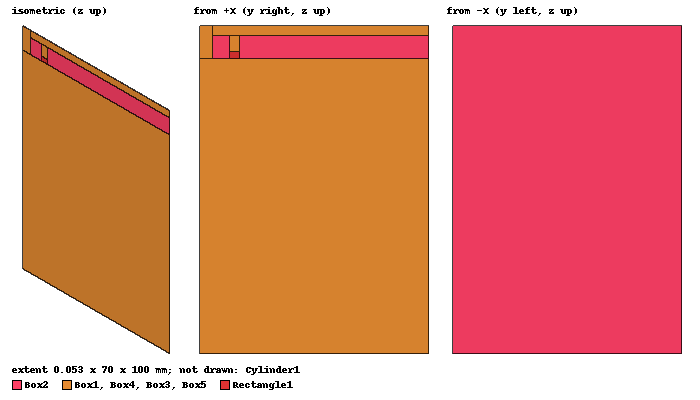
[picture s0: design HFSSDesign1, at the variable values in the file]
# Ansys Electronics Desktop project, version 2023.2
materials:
  vacuum: permittivity=1
  copper: permeability=0.999991 conductivity=58000000
  FR4_epoxy: permittivity=4.4 dielectric_loss_tangent=0.02
  Rogers RO3003 (tm): permittivity=3 dielectric_loss_tangent=0.0013
  Rogers TMM 10 (tm): permittivity=9.2 dielectric_loss_tangent=0.0022
  Rogers TMM 4 (tm): permittivity=4.5 dielectric_loss_tangent=0.002

design HFSSDesign1 (HFSS, HFSS Terminal Network, model units mm)
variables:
  IU = 25
  m = 20
  val2 = 9.1mm
  xval = 0.003mm
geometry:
  Box1 [copper] = box(corner=(0mm, 0mm, 0mm), size=(xval, 70mm, 90mm))
  Box2 [Rogers TMM 4 (tm)] = box(corner=(0mm, 0mm, 0mm), size=(-0.05mm, 70mm, 100mm))
  Box3 [copper] = box(corner=(0mm, 0mm, 90mm), size=(xval, 4mm, 10mm))
  Box4 [copper] = box(corner=(0mm, 4mm, 97mm), size=(xval, 66mm, 3mm))
  Box5 [copper] = box(corner=(0mm, val2, 92mm), size=(xval, 3.05mm, 5mm))
  Rectangle1 = rectangle(corner=(0mm, val2, 90mm), y_size=3.05mm, z_size=2mm)
  Cylinder1 [vacuum] = cylinder(axis=Z, base_centre=(0mm, 35mm, -81.5mm), radius=115mm, height=272mm)
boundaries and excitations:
  Rad1: Radiation Objects=Cylinder1
  Port1: Lumped Port Faces=Rectangle1.face LumpedPortType=Modal Modes{Mode1{IntLine{(0, 10.6349125, 90) -> (0, 10.625, 92)} CharImp=Zpi}} Impedance=50ohm
  reference conductors: Box1, Box5
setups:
  Setup2: HfssDriven Frequency=1.5GHz MaxDeltaS=0.02 MaximumPasses=6 MinimumPasses=1 MinimumConvergedPasses=1 PercentRefinement=30 BasisOrder=1 PortAccuracy=2 DrivenSolverType="Direct Solver"
    sweep Sweep: 0.2GHz to 5GHz, 1000 points; Type=Fast SaveFields
  Setup3: HfssDriven Frequency=1GHz MaxDeltaS=0.02 MaximumPasses=6 MinimumPasses=1 MinimumConvergedPasses=1 PercentRefinement=30 BasisOrder=1 PortAccuracy=2 DrivenSolverType="Direct Solver"
    sweep Sweep: 0.6GHz to 1.5GHz, 1500 points; Type=Fast SaveFields
  Setup4: HfssDriven Frequency=0.92GHz MaxDeltaS=0.02 MaximumPasses=6 MinimumPasses=1 MinimumConvergedPasses=1 PercentRefinement=30 BasisOrder=1 PortAccuracy=2 DrivenSolverType="Direct Solver"
    sweep Sweep: 0.46GHz to 1.38GHz, 401 points; Type=Interpolating InterpTolerance=0.5 InterpMaxSolns=250 PassivityErrorTolerance=0.0001
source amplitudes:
  Port1:1: 1V 0deg
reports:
  S Parameter Plot 2: dB(S(Port1,Port1)) vs Freq on Setup2 : Sweep; markers MX1 at x=8.7654008e+08
  S Parameter Plot 3: dB(S(Port1,Port1)) vs Freq on Setup3 : Sweep; markers MX1 at x=9.1260504e+08, MY1 at y=-10.0218
  S Parameter Plot 4: dB(S(Port1,Port1)) vs Freq on Setup4 : Sweep; markers MX1 at x=9.2186178e+08, MY1 at y=-9.98908
